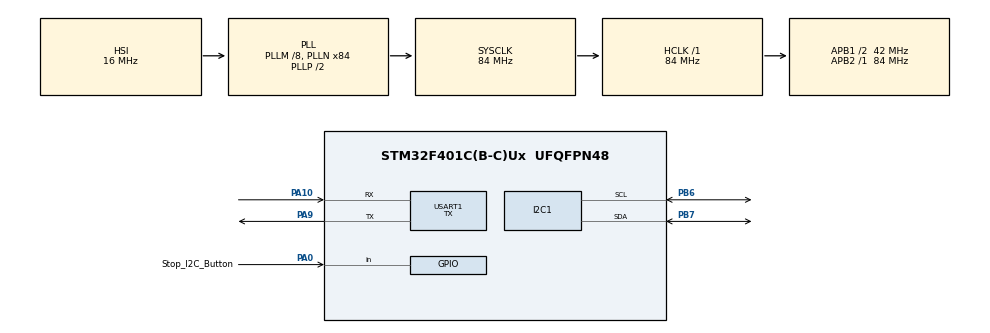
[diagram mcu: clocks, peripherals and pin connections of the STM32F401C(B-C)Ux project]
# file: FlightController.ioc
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Mcu.Family=STM32F4
Mcu.Name=STM32F401C(B-C)Ux
Mcu.Package=UFQFPN48
NVIC.PriorityGroup=NVIC_PRIORITYGROUP_4
NVIC.TIM1_UP_TIM10_IRQn=true\:0\:0\:false\:false\:true\:true\:true\:true
PA0-WKUP.GPIO_Label=Stop_I2C_Button
PA0-WKUP.GPIO_PuPd=GPIO_PULLUP
PA0-WKUP.Signal=GPIO_Input
PA10.GPIO_PuPd=GPIO_NOPULL
PA10.Mode=Asynchronous
PA10.Signal=USART1_RX
PA9.GPIO_PuPd=GPIO_NOPULL
PA9.Mode=Asynchronous
PA9.Signal=USART1_TX
PB6.GPIO_Pu=GPIO_PULLUP
PB6.Mode=I2C
PB6.Signal=I2C1_SCL
PB7.GPIO_Pu=GPIO_PULLUP
PB7.Mode=I2C
PB7.Signal=I2C1_SDA
PH0\ -\ OSC_IN.Mode=HSE-External-Oscillator
PH0\ -\ OSC_IN.Signal=RCC_OSC_IN
PH1\ -\ OSC_OUT.Mode=HSE-External-Oscillator
PH1\ -\ OSC_OUT.Signal=RCC_OSC_OUT
ProjectManager.HeapSize=0x200
ProjectManager.StackSize=0x400
ProjectManager.TargetToolchain=STM32CubeIDE
RCC.48MHZClocksFreq_Value=42000000
RCC.AHBFreq_Value=84000000
RCC.APB1CLKDivider=RCC_HCLK_DIV2
RCC.APB1Freq_Value=42000000
RCC.APB1TimFreq_Value=84000000
RCC.APB2Freq_Value=84000000
RCC.APB2TimFreq_Value=84000000
RCC.CortexFreq_Value=84000000
RCC.HCLKFreq_Value=84000000
RCC.HSE_VALUE=25000000
RCC.HSI_VALUE=16000000
RCC.LSE_VALUE=32768
RCC.PLLM=8
RCC.PLLN=84
RCC.SYSCLKFreq_VALUE=84000000
RCC.SYSCLKSource=RCC_SYSCLKSOURCE_PLLCLK
RCC.VCOOutputFreq_Value=168000000
TIM10.Period=10000-1
TIM10.Prescaler=84-1
USART1.Mode=MODE_TX
USART1.VirtualMode=VM_ASYNC
VP_TIM10_VS_ClockSourceINT.Mode=Enable_Timer
board=custom

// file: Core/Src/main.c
/* USER CODE BEGIN Header */
/**
  ******************************************************************************
  * @file           : main.c
  * @brief          : Main program body
  ******************************************************************************
  * @attention
  *
  * Copyright (c) 2024 STMicroelectronics.
  * All rights reserved.
  *
  * This software is licensed under terms that can be found in the LICENSE file
  * in the root directory of this software component.
  * If no LICENSE file comes with this software, it is provided AS-IS.
  *
  ******************************************************************************
  */
/* USER CODE END Header */
#include "main.h"

/* USER CODE BEGIN Includes */
//#include "gy_87.h"
#define ARM_MATH_CM4
#include "arm_math.h"
#include <math.h>
#include <stdlib.h>
#include <stdio.h>
#include "dataManagment.h"
#include "KalmanFilter.h"

/* USER CODE END Includes */

I2C_HandleTypeDef hi2c1;

TIM_HandleTypeDef htim10;

UART_HandleTypeDef huart1;

void SystemClock_Config(void);
static void MX_GPIO_Init(void);
static void MX_I2C1_Init(void);
static void MX_USART1_UART_Init(void);
static void MX_TIM10_Init(void);

/* USER CODE BEGIN 0 */

MPU6050_accel_vectors_t accel_data;
float32_t measuredPitchAngle;
KF_second_struct_t KF_Pitch;
/* USER CODE END 0 */

int main(void)
{

  /* MCU Configuration--------------------------------------------------------*/

  /* Reset of all peripherals, Initializes the Flash interface and the Systick. */
  HAL_Init();

  /* Configure the system clock */
  SystemClock_Config();

  /* Initialize all configured peripherals */
  MX_GPIO_Init();
  MX_I2C1_Init();
  MX_USART1_UART_Init();
  MX_TIM10_Init();
  /* USER CODE BEGIN 2 */
  InitializeKalman_second(&KF_Pitch);
  if (HAL_TIM_Base_Start_IT(&htim10) != HAL_OK)
  {
    /* Starting Error */
    Error_Handler();
  }
  while(MPU6050_Init(&hi2c1) == 1);
  /* USER CODE END 2 */
  /* Infinite loop */
  while (1)
  {
	  uint8_t buffer[200];
	  uint16_t buffer_len = sprintf(buffer, "%20.5f\t%20.5f\t%20.5f\t%20.5f\r\n",KF_Pitch.x*57.295779513082320876798154814105,KF_Pitch.xdt*57.295779513082320876798154814105,KF_Pitch.xdt2*57.295779513082320876798154814105,measuredPitchAngle*57.295779513082320876798154814105);
	  HAL_UART_Transmit(&huart1, buffer ,buffer_len, 1000);
  }
}

void SystemClock_Config(void)
{
  RCC_OscInitTypeDef RCC_OscInitStruct = {0};
  RCC_ClkInitTypeDef RCC_ClkInitStruct = {0};

  /** Configure the main internal regulator output voltage
  */
  __HAL_RCC_PWR_CLK_ENABLE();
  __HAL_PWR_VOLTAGESCALING_CONFIG(PWR_REGULATOR_VOLTAGE_SCALE2);

  /** Initializes the RCC Oscillators according to the specified parameters
  * in the RCC_OscInitTypeDef structure.
  */
  RCC_OscInitStruct.OscillatorType = RCC_OSCILLATORTYPE_HSI;
  RCC_OscInitStruct.HSIState = RCC_HSI_ON;
  RCC_OscInitStruct.HSICalibrationValue = RCC_HSICALIBRATION_DEFAULT;
  RCC_OscInitStruct.PLL.PLLState = RCC_PLL_ON;
  RCC_OscInitStruct.PLL.PLLSource = RCC_PLLSOURCE_HSI;
  RCC_OscInitStruct.PLL.PLLM = 8;
  RCC_OscInitStruct.PLL.PLLN = 84;
  RCC_OscInitStruct.PLL.PLLP = RCC_PLLP_DIV2;
  RCC_OscInitStruct.PLL.PLLQ = 4;
  if (HAL_RCC_OscConfig(&RCC_OscInitStruct) != HAL_OK)
  {
    Error_Handler();
  }

  /** Initializes the CPU, AHB and APB buses clocks
  */
  RCC_ClkInitStruct.ClockType = RCC_CLOCKTYPE_HCLK|RCC_CLOCKTYPE_SYSCLK
                              |RCC_CLOCKTYPE_PCLK1|RCC_CLOCKTYPE_PCLK2;
  RCC_ClkInitStruct.SYSCLKSource = RCC_SYSCLKSOURCE_PLLCLK;
  RCC_ClkInitStruct.AHBCLKDivider = RCC_SYSCLK_DIV1;
  RCC_ClkInitStruct.APB1CLKDivider = RCC_HCLK_DIV2;
  RCC_ClkInitStruct.APB2CLKDivider = RCC_HCLK_DIV1;

  if (HAL_RCC_ClockConfig(&RCC_ClkInitStruct, FLASH_LATENCY_2) != HAL_OK)
  {
    Error_Handler();
  }
}

static void MX_I2C1_Init(void)
{

  hi2c1.Instance = I2C1;
  hi2c1.Init.ClockSpeed = 100000;
  hi2c1.Init.DutyCycle = I2C_DUTYCYCLE_2;
  hi2c1.Init.OwnAddress1 = 0;
  hi2c1.Init.AddressingMode = I2C_ADDRESSINGMODE_7BIT;
  hi2c1.Init.DualAddressMode = I2C_DUALADDRESS_DISABLE;
  hi2c1.Init.OwnAddress2 = 0;
  hi2c1.Init.GeneralCallMode = I2C_GENERALCALL_DISABLE;
  hi2c1.Init.NoStretchMode = I2C_NOSTRETCH_DISABLE;
  if (HAL_I2C_Init(&hi2c1) != HAL_OK)
  {
    Error_Handler();
  }

}

static void MX_TIM10_Init(void)
{

  htim10.Instance = TIM10;
  htim10.Init.Prescaler = 84-1;
  htim10.Init.CounterMode = TIM_COUNTERMODE_UP;
  htim10.Init.Period = 10000-1;
  htim10.Init.ClockDivision = TIM_CLOCKDIVISION_DIV1;
  htim10.Init.AutoReloadPreload = TIM_AUTORELOAD_PRELOAD_DISABLE;
  if (HAL_TIM_Base_Init(&htim10) != HAL_OK)
  {
    Error_Handler();
  }

}

static void MX_USART1_UART_Init(void)
{

  huart1.Instance = USART1;
  huart1.Init.BaudRate = 115200;
  huart1.Init.WordLength = UART_WORDLENGTH_8B;
  huart1.Init.StopBits = UART_STOPBITS_1;
  huart1.Init.Parity = UART_PARITY_NONE;
  huart1.Init.Mode = UART_MODE_TX;
  huart1.Init.HwFlowCtl = UART_HWCONTROL_NONE;
  huart1.Init.OverSampling = UART_OVERSAMPLING_16;
  if (HAL_UART_Init(&huart1) != HAL_OK)
  {
    Error_Handler();
  }

}

static void MX_GPIO_Init(void)
{
  GPIO_InitTypeDef GPIO_InitStruct = {0};

  /* GPIO Ports Clock Enable */
  __HAL_RCC_GPIOH_CLK_ENABLE();
  __HAL_RCC_GPIOA_CLK_ENABLE();
  __HAL_RCC_GPIOB_CLK_ENABLE();

  /*Configure GPIO pin : Stop_I2C_Button_Pin */
  GPIO_InitStruct.Pin = Stop_I2C_Button_Pin;
  GPIO_InitStruct.Mode = GPIO_MODE_INPUT;
  GPIO_InitStruct.Pull = GPIO_PULLUP;
  HAL_GPIO_Init(Stop_I2C_Button_GPIO_Port, &GPIO_InitStruct);

}

/* USER CODE BEGIN 4 */
void HAL_TIM_PeriodElapsedCallback(TIM_HandleTypeDef* htim)
{
	MPU6050_Read_Accel(&hi2c1, &accel_data);
	calculateAngle_acc(&KF_Pitch, accel_data, &measuredPitchAngle, DAMA_ANGLETYPE_PITCH);
	CalculateKalman_second(&KF_Pitch, measuredPitchAngle);
	//			To Be REDACTED

}
/* USER CODE END 4 */

void Error_Handler(void)
{
  __disable_irq();
  while (1)
  {
  }
}
